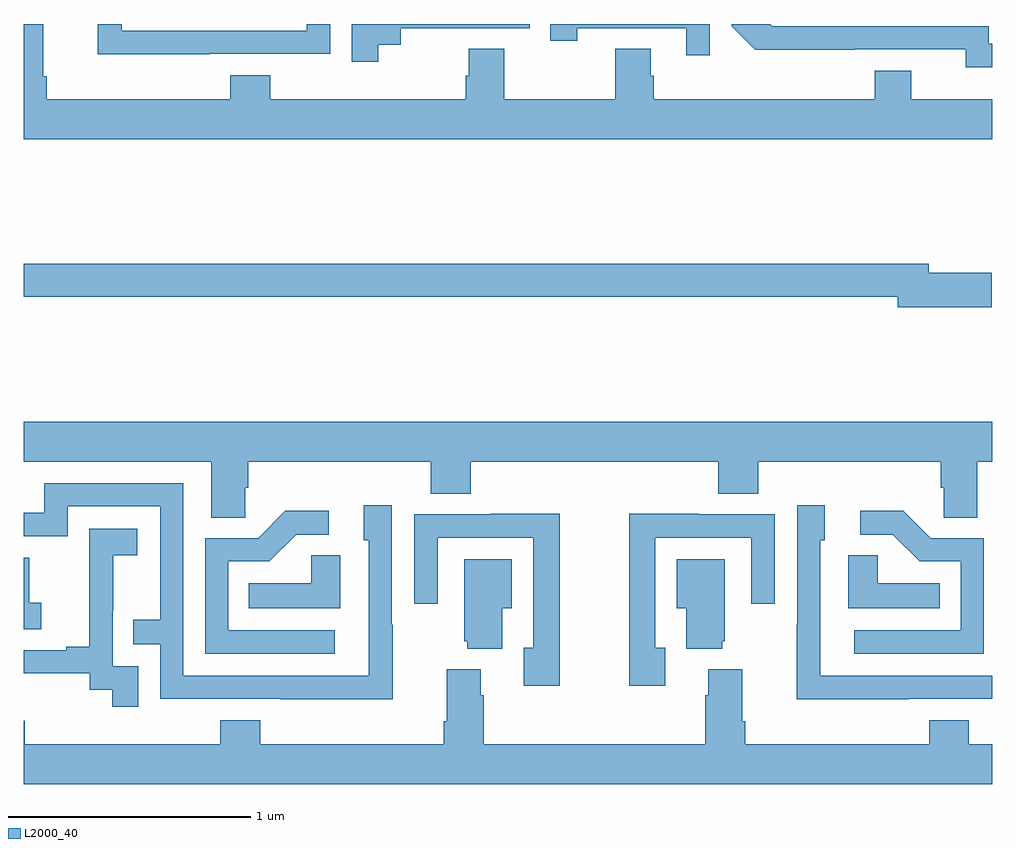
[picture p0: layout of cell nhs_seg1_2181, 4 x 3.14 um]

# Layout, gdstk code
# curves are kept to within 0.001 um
import gdstk
lib = gdstk.Library(unit=1e-6, precision=1e-09)
def P(c, l, *ps):  # polygons
    for p in ps: c.add(gdstk.Polygon(p, *l))
L2000_40 = (2000, 40)

nhs_seg1_2181 = lib.new_cell('nhs_seg1_2181')
P(nhs_seg1_2181, L2000_40, [(229.769,560.076),(230.265,560.076),(230.265,560.199),(230.169,560.199),(230.169,560.172),(229.405,560.172),(229.405,560.199),(229.306,560.199),(229.306,560.075),(229.769,560.075)],
  [(231.834,560.199),(231.175,560.199),(231.175,560.13),(231.286,560.13),(231.286,560.181),(231.737,560.181),(231.737,560.07),(231.834,560.07)],
  [(233,560.118),(232.986,560.118),(232.986,560.19),(232.092,560.19),(232.083,560.199),(231.924,560.199),(231.924,560.19),(232.022,560.093),(232.89,560.094),(232.89,560.021),(233,560.021)],
  [(230.464,560.113),(230.556,560.113),(230.556,560.181),(231.09,560.181),(231.09,560.199),(230.355,560.199),(230.355,560.043),(230.464,560.043)],
  [(233,559.888),(232.666,559.888),(232.666,560.005),(232.514,560.005),(232.514,559.888),(231.602,559.888),(231.602,559.986),(231.589,559.986),(231.589,560.096),(231.442,560.096),(231.442,559.888),(230.985,559.888),(230.985,560.096),(230.837,560.096),(230.837,559.986),(230.825,559.986),(230.825,559.888),(230.018,559.888),(230.018,559.987),(229.853,559.987),(229.853,559.888),(229.094,559.888),(229.094,559.984),(229.081,559.984),(229.081,560.197),(229,560.197),(229,559.724),(233,559.724)],
  [(232.999,559.172),(232.738,559.172),(232.738,559.208),(229,559.208),(229,559.072),(232.61,559.072),(232.61,559.03),(232.999,559.03)],
  [(229.914,558.283),(229.928,558.283),(229.928,558.392),(230.681,558.392),(230.681,558.259),(230.846,558.259),(230.846,558.392),(231.869,558.392),(231.869,558.259),(232.034,558.259),(232.034,558.392),(232.787,558.392),(232.787,558.283),(232.8,558.283),(232.8,558.16),(232.939,558.16),(232.939,558.392),(233,558.392),(233,558.556),(229,558.556),(229,558.392),(229.775,558.392),(229.775,558.16),(229.914,558.16)],
  [(230.523,557.717),(230.52,557.717),(230.52,558.211),(230.405,558.211),(230.405,558.066),(230.424,558.066),(230.424,557.508),(229.659,557.508),(229.659,558.303),(229.085,558.303),(229.085,558.18),(229,558.18),(229,558.084),(229.182,558.084),(229.182,558.207),(229.563,558.207),(229.563,557.738),(229.453,557.738),(229.453,557.637),(229.563,557.637),(229.563,557.412),(230.059,557.412),(230.059,557.411),(230.523,557.411)],
  [(232.655,557.412),(233,557.412),(233,557.508),(232.29,557.508),(232.29,558.066),(232.309,558.066),(232.309,558.211),(232.194,558.211),(232.194,557.717),(232.192,557.717),(232.192,557.411),(232.655,557.411)],
  [(232.965,558.075),(232.746,558.075),(232.633,558.188),(232.455,558.188),(232.455,558.09),(232.589,558.09),(232.7,557.979),(232.869,557.979),(232.869,557.694),(232.431,557.694),(232.431,557.598),(232.965,557.598)],
  [(230.284,557.694),(229.845,557.694),(229.845,557.979),(230.014,557.979),(230.125,558.09),(230.26,558.09),(230.26,558.188),(230.081,558.188),(229.968,558.075),(229.749,558.075),(229.749,557.598),(230.284,557.598)],
  [(231.649,557.622),(231.609,557.622),(231.609,558.078),(232.005,558.078),(232.005,557.805),(232.101,557.805),(232.101,558.174),(231.785,558.174),(231.785,558.176),(231.501,558.176),(231.501,557.466),(231.649,557.466)],
  [(231.214,558.176),(230.929,558.176),(230.929,558.174),(230.613,558.174),(230.613,557.805),(230.709,557.805),(230.709,558.078),(231.105,558.078),(231.105,557.622),(231.065,557.622),(231.065,557.466),(231.214,557.466)],
  [(229.473,557.547),(229.368,557.547),(229.368,557.777),(229.37,557.777),(229.37,558.005),(229.468,558.005),(229.468,558.115),(229.27,558.115),(229.27,557.909),(229.271,557.909),(229.271,557.626),(229.175,557.626),(229.175,557.613),(229,557.613),(229,557.517),(229.272,557.517),(229.272,557.449),(229.365,557.449),(229.365,557.379),(229.473,557.379)],
  [(232.784,557.89),(232.527,557.89),(232.527,558.005),(232.406,558.005),(232.406,557.786),(232.784,557.786)],
  [(230.308,558.005),(230.187,558.005),(230.187,557.89),(229.93,557.89),(229.93,557.786),(230.308,557.786)],
  [(229.072,557.809),(229.023,557.809),(229.023,557.994),(229,557.994),(229,557.7),(229.072,557.7)],
  [(230.977,557.786),(231.016,557.786),(231.016,557.989),(230.819,557.989),(230.819,557.649),(230.831,557.649),(230.831,557.618),(230.977,557.618)],
  [(231.884,557.649),(231.895,557.649),(231.895,557.989),(231.698,557.989),(231.698,557.786),(231.737,557.786),(231.737,557.618),(231.884,557.618)],
  [(233,557.224),(232.904,557.224),(232.904,557.323),(232.739,557.323),(232.739,557.224),(231.98,557.224),(231.98,557.32),(231.967,557.32),(231.967,557.533),(231.827,557.533),(231.827,557.426),(231.815,557.426),(231.815,557.224),(230.9,557.224),(230.9,557.426),(230.887,557.426),(230.887,557.533),(230.747,557.533),(230.747,557.32),(230.735,557.32),(230.735,557.224),(229.976,557.224),(229.976,557.323),(229.811,557.323),(229.811,557.224),(229.004,557.224),(229.004,557.322),(229,557.322),(229,557.06),(233,557.06)])

lib.write_gds('nhs_seg1_2181.gds')
